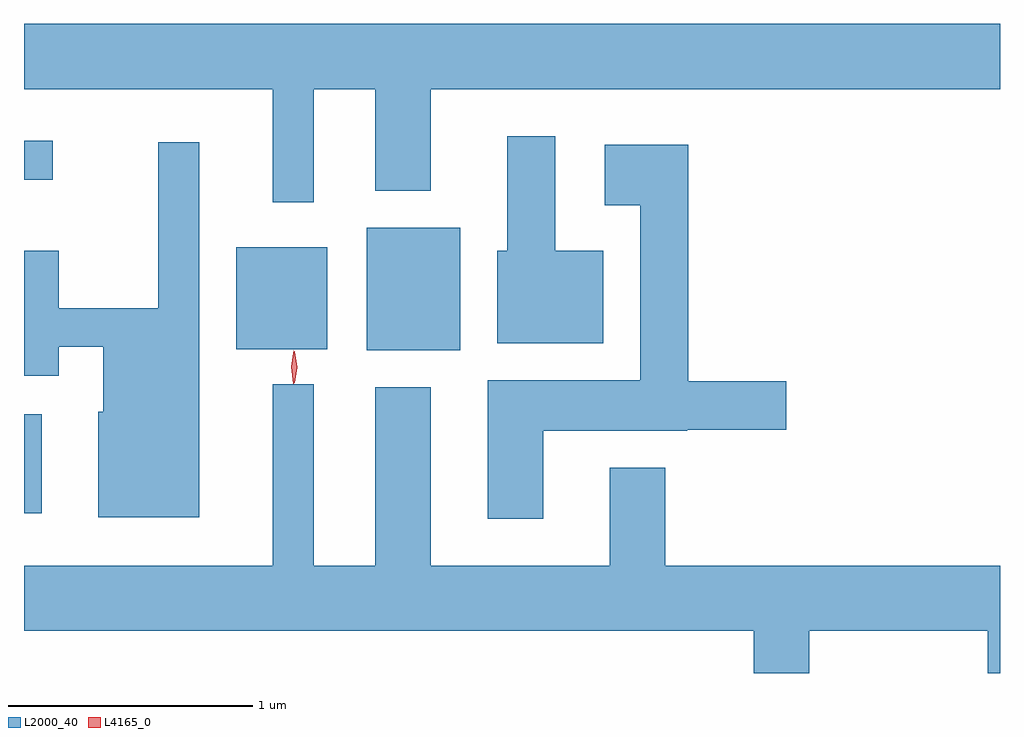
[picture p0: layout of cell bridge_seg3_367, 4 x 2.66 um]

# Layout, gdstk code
import gdstk
lib = gdstk.Library(unit=1e-6, precision=1e-09)
def R(c, l, rs):  # rectangles x0, y0, x1, y1
    for r in rs: c.add(gdstk.rectangle(r[:2], r[2:], *l))
def P(c, l, *ps):  # polygons
    for p in ps: c.add(gdstk.Polygon(p, *l))
L2000_40 = (2000, 40)
L4165_0 = (4165, 0)

bridge_seg3_367 = lib.new_cell('bridge_seg3_367')
R(bridge_seg3_367, L2000_40, [(670.091,1124.278,670.164,1124.684), (671.496,1124.946,671.879,1125.449), (670.961,1124.951,671.334,1125.369), (670.091,1125.646,670.208,1125.804)])
P(bridge_seg3_367, L2000_40, [(671.279,1126.016),(671.531,1126.016),(671.531,1125.601),(671.759,1125.601),(671.759,1126.016),(674.091,1126.016),(674.091,1126.284),(670.091,1126.284),(670.091,1126.016),(671.111,1126.016),(671.111,1125.553),(671.279,1125.553)],
  [(672.464,1125.354),(672.269,1125.354),(672.269,1125.824),(672.071,1125.824),(672.071,1125.354),(672.031,1125.354),(672.031,1124.976),(672.464,1124.976)],
  [(670.809,1125.798),(670.641,1125.798),(670.641,1125.119),(670.234,1125.119),(670.234,1125.354),(670.091,1125.354),(670.091,1124.841),(670.234,1124.841),(670.234,1124.961),(670.416,1124.961),(670.416,1124.694),(670.396,1124.694),(670.396,1124.261),(670.809,1124.261)],
  [(672.219,1124.616),(672.81,1124.616),(672.81,1124.621),(673.214,1124.621),(673.214,1124.819),(672.814,1124.819),(672.814,1125.789),(672.471,1125.789),(672.471,1125.541),(672.616,1125.541),(672.616,1124.824),(671.991,1124.824),(671.991,1124.256),(672.219,1124.256)],
  [(673.309,1123.796),(674.041,1123.796),(674.041,1123.623),(674.091,1123.623),(674.091,1124.064),(672.719,1124.064),(672.719,1124.464),(672.491,1124.464),(672.491,1124.064),(671.759,1124.064),(671.759,1124.794),(671.531,1124.794),(671.531,1124.064),(671.279,1124.064),(671.279,1124.808),(671.111,1124.808),(671.111,1124.064),(670.091,1124.064),(670.091,1123.796),(673.081,1123.796),(673.081,1123.623),(673.309,1123.623)])
P(bridge_seg3_367, L4165_0, [(671.199,1124.813),(671.19,1124.877),(671.199,1124.941),(671.2,1124.942),(671.2,1124.941),(671.21,1124.877),(671.2,1124.813),(671.2,1124.813)],
  [(671.194,1124.81),(671.186,1124.878),(671.196,1124.946),(671.196,1124.946),(671.196,1124.946),(671.206,1124.878),(671.196,1124.81),(671.195,1124.81)])

lib.write_gds('bridge_seg3_367.gds')
